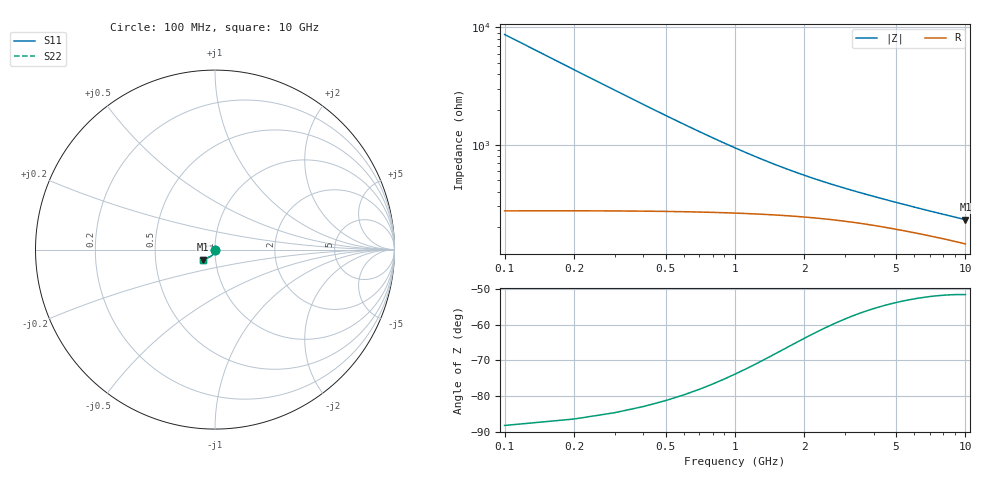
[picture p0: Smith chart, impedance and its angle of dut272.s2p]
! Touchstone file exported from HFSS 2024.1.0
!  File:  C:/UserFiles/LocalFiles/RDL_TSV_Batchsim/temp_TSV1_272_1778769985.aedt
!  Generated:  10:50:44 PM May 14, 2026
!  Design:  TSV1
!  Project:  temp_TSV1_272_1778769985
!  Setup:  Setup1
!  Solution:  Sweep
! Variables:
!  dtsv = 22.89um
!  hbump = 3um
!  htsv = 65.89um
!  lrdl = 252.1521522um
!  p = 40
!  p1 = 53.78um
!  t = 500um
!  trdl = 3um
!  wrdl = 24.89489489um
# GHz S MA R 50.000000
! Terminal data exported
! Port[1] = TSV22_T1
! Port[2] = TSV22_T2
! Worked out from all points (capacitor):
!   100 points, 100 MHz to 10 GHz, reference 50 ohm
!   read as one part in shunt: C = 182 fF near 100 MHz
!   lowest |Z| = 231 ohm at 10 GHz (marker M1)
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0.1  0.002624 -90.5  0.9998 -0.2  0.9998 -0.2  0.002624 -90.5
! Gamma 0 0 0 0
! Port Impedance 50 0 50 0
0.2  0.005234 -93.3  0.9995 -0.4  0.9995 -0.4  0.005234 -93.3
0.3  0.007819 -95.5  0.9991 -0.5  0.9991 -0.5  0.007819 -95.5
0.4  0.01037 -97.6  0.9984 -0.7  0.9984 -0.7  0.01037 -97.6
0.5  0.01286 -99.5  0.9976 -0.9  0.9976 -0.9  0.01286 -99.5
0.6  0.0153 -101.4  0.9967 -1.0  0.9967 -1.0  0.0153 -101.4
0.7  0.01766 -103.2  0.9956 -1.2  0.9956 -1.2  0.01766 -103.2
0.8  0.01995 -105.0  0.9945 -1.3  0.9945 -1.3  0.01995 -105.0
0.9  0.02216 -106.7  0.9933 -1.4  0.9933 -1.4  0.02216 -106.7
1.1  0.02632 -109.8  0.9908 -1.7  0.9908 -1.7  0.02632 -109.8
1.4  0.03191 -113.9  0.9869 -2.0  0.9869 -2.0  0.03191 -113.9
1.6  0.03523 -116.3  0.9843 -2.2  0.9843 -2.2  0.03523 -116.3
1.8  0.03826 -118.5  0.9817 -2.4  0.9817 -2.4  0.03826 -118.5
2.1  0.04232 -121.3  0.9781 -2.6  0.9781 -2.6  0.04232 -121.3
2.5  0.04701 -124.3  0.9737 -2.8  0.9737 -2.8  0.04701 -124.3
2.9  0.05106 -126.7  0.9698 -3.0  0.9698 -3.0  0.05106 -126.7
3.4  0.05547 -129.1  0.9654 -3.3  0.9654 -3.3  0.05547 -129.1
4.2  0.06149 -132.0  0.9595 -3.6  0.9595 -3.6  0.06149 -132.0
5.1  0.06721 -134.2  0.9539 -4.0  0.9539 -4.0  0.06721 -134.2
6.7  0.07559 -137.0  0.9459 -4.6  0.9459 -4.6  0.07559 -137.0
8.4  0.08276 -138.9  0.9392 -5.1  0.9392 -5.1  0.08276 -138.9
10  0.08841 -140.2  0.9341 -5.6  0.9341 -5.6  0.08841 -140.2
